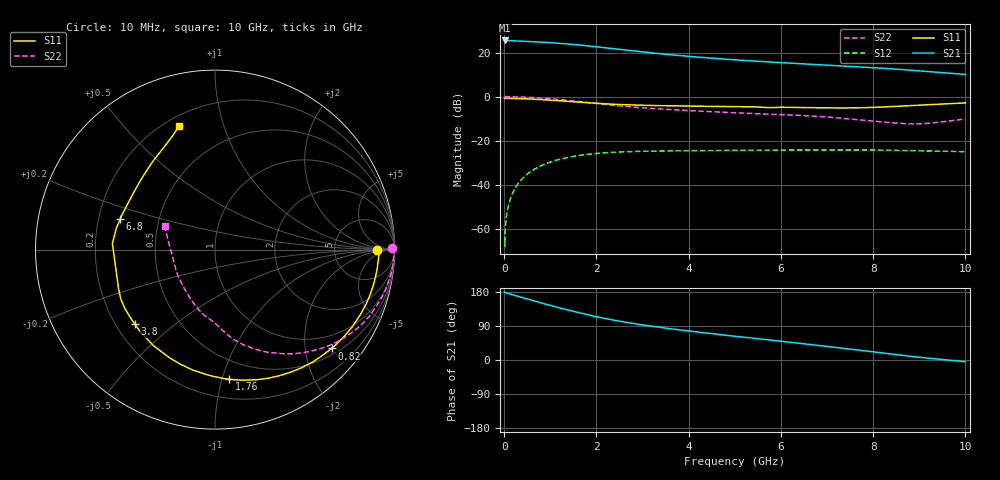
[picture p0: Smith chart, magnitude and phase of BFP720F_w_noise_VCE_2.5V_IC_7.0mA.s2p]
! Infineon Technologies  Discrete & RF Semiconductors
! BFP720F
! VCE =  2.5 V,  IC =  7.0 mA
! Common Emitter S-Parameters:  Jan 2016
# GHz  S  MA  R  50
!  f  S11  S21  S12  S22
! GHz  MAG  ANG  MAG  ANG  MAG  ANG  MAG  ANG
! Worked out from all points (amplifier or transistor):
!   233 points, 10 MHz to 10 GHz, reference 50 ohm
!   highest |S21| = 25.5 dB at 10 MHz (marker M1)
!   |S21| within 3 dB of that: start of sweep to 2.055 GHz
!   unconditionally stable (mu >= 1): start of sweep to 11.9 MHz; 7.281 GHz to end of sweep
!   at 200 MHz: K = 0.05, MSG = 34.2 dB, |S12| = -43.1 dB
!   at 1.74 GHz: K = 0.25, MSG = 24.8 dB, |S12| = -26.4 dB
!   at 10 GHz: K = 1.29, MAG = 14.3 dB, |S12| = -25.0 dB
!   lowest NFmin = 0.48 dB at 450 MHz
!   S11 on the Smith chart (normalised r, x): 10 MHz: 20, -0; 820 MHz: 0.65, -2.58; 1.76 GHz: 0.34, -1.05; 3.8 GHz: 0.28, -0.37; 6.8 GHz: 0.29, +0.14; 10 GHz: 0.25, +0.72
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0.01  0.9051 -0.1  18.78 179.4  0.0005 -17.6  0.984 0.4
0.015  0.9098 -0.5  18.65 178.5  0.0004 58.5  0.9913 -0.4
0.02  0.9145 -0.8  18.54 177.5  0.0008 95.8  0.9988 -1.2
0.05  0.9129 -2.4  18.7 177.4  0.0019 85.3  0.9968 -1.6
0.19  0.9075 -9.4  18.43 172.0  0.0067 84.1  0.9925 -6.1
0.45  0.8903 -22.1  17.89 162.7  0.0156 76.8  0.9722 -14.4
0.82  0.8514 -40.3  17.26 150.1  0.0274 65.9  0.9237 -25.8
0.98  0.8316 -48.0  16.81 144.8  0.0319 61.3  0.8957 -30.5
1.28  0.7908 -62.1  15.9 135.1  0.0393 53.3  0.8375 -39.1
1.68  0.7362 -80.5  14.66 123.0  0.0469 43.6  0.7545 -49.6
1.76  0.7267 -83.8  14.36 120.7  0.0481 41.9  0.7389 -51.5
2.2  0.6826 -100.4  12.78 109.3  0.053 33.2  0.6585 -60.9
2.6  0.6538 -112.9  11.45 100.3  0.0556 26.8  0.5996 -67.9
3  0.6346 -123.0  10.31 92.5  0.0572 22.0  0.5548 -73.3
3.4  0.6199 -130.6  9.347 85.9  0.058 18.0  0.5205 -77.2
3.8  0.6094 -137.2  8.541 79.6  0.0587 14.7  0.4919 -80.2
4.5  0.6002 -146.6  7.43 69.4  0.0596 10.1  0.4526 -84.5
5.1  0.5899 -153.3  6.716 61.5  0.0601 6.8  0.4239 -88.0
6.8  0.5545 162.1  5.32 38.6  0.0612 -1.1  0.3535 -103.3
8.4  0.5922 127.7  4.263 15.7  0.0603 -8.3  0.2541 -143.2
9  0.6367 116.6  3.826 7.2  0.0585 -10.2  0.2401 -172.5
10  0.7177 106.2  3.182 -4.4  0.056 -11.7  0.3096 154.7
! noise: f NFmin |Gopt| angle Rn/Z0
0.45  0.48  0.4  3  0.2
0.9  0.5  0.38  9  0.16
1.8  0.54  0.35  18  0.15
2.4  0.57  0.33  28  0.13
5.5  0.74  0.31  57  0.09
10  0.96  0.26  -100  0.16
